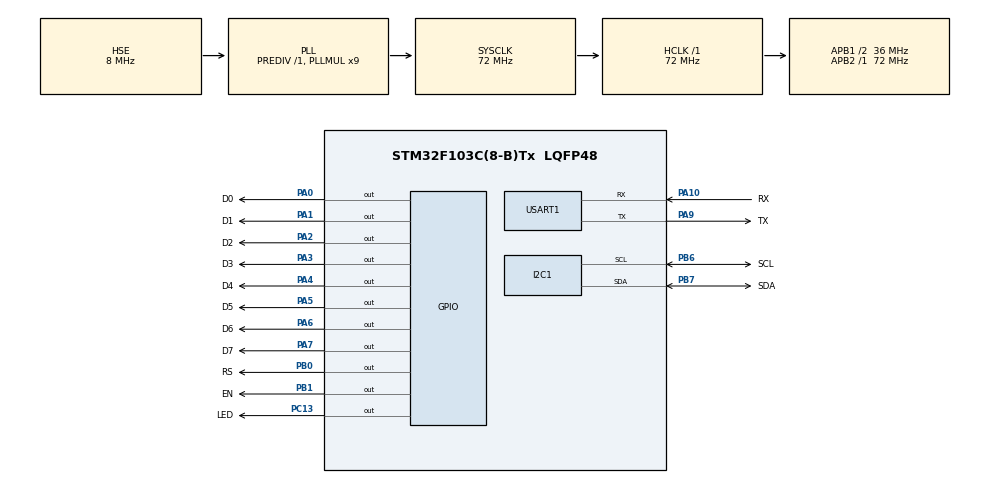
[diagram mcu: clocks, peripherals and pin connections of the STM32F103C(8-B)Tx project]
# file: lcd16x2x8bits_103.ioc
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I2C1.I2C_Mode=I2C_Standard
Mcu.Family=STM32F1
Mcu.Name=STM32F103C(8-B)Tx
Mcu.Package=LQFP48
NVIC.PriorityGroup=NVIC_PRIORITYGROUP_4
PA0-WKUP.GPIO_Label=D0
PA0-WKUP.Signal=GPIO_Output
PA1.GPIO_Label=D1
PA1.Signal=GPIO_Output
PA10.GPIO_Label=RX
PA10.Mode=Asynchronous
PA10.Signal=USART1_RX
PA13.Mode=Serial_Wire
PA13.Signal=SYS_JTMS-SWDIO
PA14.Mode=Serial_Wire
PA14.Signal=SYS_JTCK-SWCLK
PA2.GPIO_Label=D2
PA2.Signal=GPIO_Output
PA3.GPIO_Label=D3
PA3.Signal=GPIO_Output
PA4.GPIO_Label=D4
PA4.Signal=GPIO_Output
PA5.GPIO_Label=D5
PA5.Signal=GPIO_Output
PA6.GPIO_Label=D6
PA6.Signal=GPIO_Output
PA7.GPIO_Label=D7
PA7.Signal=GPIO_Output
PA9.GPIO_Label=TX
PA9.Mode=Asynchronous
PA9.Signal=USART1_TX
PB0.GPIO_Label=RS
PB0.Signal=GPIO_Output
PB1.GPIO_Label=EN
PB1.Signal=GPIO_Output
PB6.GPIO_Label=SCL
PB6.Mode=I2C
PB6.Signal=I2C1_SCL
PB7.GPIO_Label=SDA
PB7.Mode=I2C
PB7.Signal=I2C1_SDA
PC13-TAMPER-RTC.GPIO_Label=LED
PC13-TAMPER-RTC.Signal=GPIO_Output
PD0-OSC_IN.Mode=HSE-External-Oscillator
PD0-OSC_IN.Signal=RCC_OSC_IN
PD1-OSC_OUT.Mode=HSE-External-Oscillator
PD1-OSC_OUT.Signal=RCC_OSC_OUT
ProjectManager.HeapSize=0x200
ProjectManager.StackSize=0x400
ProjectManager.TargetToolchain=STM32CubeIDE
RCC.AHBFreq_Value=72000000
RCC.APB1CLKDivider=RCC_HCLK_DIV2
RCC.APB1Freq_Value=36000000
RCC.APB1TimFreq_Value=72000000
RCC.APB2Freq_Value=72000000
RCC.APB2TimFreq_Value=72000000
RCC.DATA_CACHE_ENABLE=1
RCC.HCLKFreq_Value=72000000
RCC.INSTRUCTION_CACHE_ENABLE=1
RCC.PLLMUL=RCC_PLL_MUL9
RCC.PLLSourceVirtual=RCC_PLLSOURCE_HSE
RCC.PWR_Regulator_Voltage_Scale=PWR_REGULATOR_VOLTAGE_SCALE1
RCC.SYSCLKFreq_VALUE=72000000
RCC.SYSCLKSource=RCC_SYSCLKSOURCE_PLLCLK
RCC.USBFreq_Value=72000000
USART1.VirtualMode=VM_ASYNC
board=custom

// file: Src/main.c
/* USER CODE BEGIN Header */
/**
  ******************************************************************************
  * @file           : main.c
  * @brief          : Main program body
  ******************************************************************************
  * @attention
  *
  * <h2><center>&copy; Copyright (c) 2019 STMicroelectronics.
  * All rights reserved.</center></h2>
  *
  * This software component is licensed by ST under BSD 3-Clause license,
  * the "License"; You may not use this file except in compliance with the
  * License. You may obtain a copy of the License at:
  *                        opensource.org/licenses/BSD-3-Clause
  *
  ******************************************************************************
  */
/* USER CODE END Header */

#include "main.h"

/* USER CODE BEGIN Includes */
#include "lcd_1602.h"
#include "ds1307.h"
#include "i2c-lcd.h"
#include "string.h"
#include "stdio.h"
/* USER CODE END Includes */

I2C_HandleTypeDef hi2c1;

UART_HandleTypeDef huart1;

/* USER CODE BEGIN PV */

uint8_t min, sec, hour;
uint8_t week_day, day, month, year;
char srt[16];

/* USER CODE END PV */

void SystemClock_Config(void);
static void MX_GPIO_Init(void);
static void MX_I2C1_Init(void);
static void MX_USART1_UART_Init(void);

/* USER CODE BEGIN 0 */
char buffer[50];
uint32_t number;
/* USER CODE END 0 */

int main(void)
{

  /* MCU Configuration--------------------------------------------------------*/

  /* Reset of all peripherals, Initializes the Flash interface and the Systick. */
  HAL_Init();

  /* Configure the system clock */
  SystemClock_Config();

  /* Initialize all configured peripherals */
  MX_GPIO_Init();
  MX_I2C1_Init();
  MX_USART1_UART_Init();
  /* USER CODE BEGIN 2 */

  lcd_init();
  HAL_Delay(10);
  lcd_i2c_init();
  HAL_Delay(10);
  rtc_init(0, 1, 0);

  lcd_clr();
  //lcd_i2c_clear();
  lcd_puts("---");
  //lcd_i2c_clear();

//  lcd_i2c_clear();

  lcd_i2c_send_string("ABCDEFGHIJKLMNO");

  HAL_Delay(2000);

  //rtc_set_time(18, 5, 0);
  //rtc_set_date(1, 16, 12, 19);

  /* USER CODE END 2 */

  /* Infinite loop */
  while (1)
  {

    /* USER CODE BEGIN 3 */
	  lcd_clr();
	  lcd_i2c_send_cmd(0x01);
	  rtc_get_time(&hour, &min, &sec);
	  lcd_gotoxy(0, 0);

	  lcd_gotoxy(1, 0);
	  sprintf(buffer, "HORA: %d:%d:%d", hour, min, sec);
	  lcd_i2c_send_string(buffer);
	  lcd_puts(buffer);
	  HAL_GPIO_TogglePin(GPIOC, GPIO_PIN_13);

	  HAL_Delay(500);
	  //number++;
  }
  /* USER CODE END 3 */
}

void SystemClock_Config(void)
{
  RCC_OscInitTypeDef RCC_OscInitStruct = {0};
  RCC_ClkInitTypeDef RCC_ClkInitStruct = {0};

  /** Initializes the CPU, AHB and APB busses clocks
  */
  RCC_OscInitStruct.OscillatorType = RCC_OSCILLATORTYPE_HSE;
  RCC_OscInitStruct.HSEState = RCC_HSE_ON;
  RCC_OscInitStruct.HSEPredivValue = RCC_HSE_PREDIV_DIV1;
  RCC_OscInitStruct.HSIState = RCC_HSI_ON;
  RCC_OscInitStruct.PLL.PLLState = RCC_PLL_ON;
  RCC_OscInitStruct.PLL.PLLSource = RCC_PLLSOURCE_HSE;
  RCC_OscInitStruct.PLL.PLLMUL = RCC_PLL_MUL9;
  if (HAL_RCC_OscConfig(&RCC_OscInitStruct) != HAL_OK)
  {
    Error_Handler();
  }
  /** Initializes the CPU, AHB and APB busses clocks
  */
  RCC_ClkInitStruct.ClockType = RCC_CLOCKTYPE_HCLK|RCC_CLOCKTYPE_SYSCLK
                              |RCC_CLOCKTYPE_PCLK1|RCC_CLOCKTYPE_PCLK2;
  RCC_ClkInitStruct.SYSCLKSource = RCC_SYSCLKSOURCE_PLLCLK;
  RCC_ClkInitStruct.AHBCLKDivider = RCC_SYSCLK_DIV1;
  RCC_ClkInitStruct.APB1CLKDivider = RCC_HCLK_DIV2;
  RCC_ClkInitStruct.APB2CLKDivider = RCC_HCLK_DIV1;

  if (HAL_RCC_ClockConfig(&RCC_ClkInitStruct, FLASH_LATENCY_2) != HAL_OK)
  {
    Error_Handler();
  }
}

static void MX_I2C1_Init(void)
{

  hi2c1.Instance = I2C1;
  hi2c1.Init.ClockSpeed = 100000;
  hi2c1.Init.DutyCycle = I2C_DUTYCYCLE_2;
  hi2c1.Init.OwnAddress1 = 0;
  hi2c1.Init.AddressingMode = I2C_ADDRESSINGMODE_7BIT;
  hi2c1.Init.DualAddressMode = I2C_DUALADDRESS_DISABLE;
  hi2c1.Init.OwnAddress2 = 0;
  hi2c1.Init.GeneralCallMode = I2C_GENERALCALL_DISABLE;
  hi2c1.Init.NoStretchMode = I2C_NOSTRETCH_DISABLE;
  if (HAL_I2C_Init(&hi2c1) != HAL_OK)
  {
    Error_Handler();
  }

}

static void MX_USART1_UART_Init(void)
{

  huart1.Instance = USART1;
  huart1.Init.BaudRate = 115200;
  huart1.Init.WordLength = UART_WORDLENGTH_8B;
  huart1.Init.StopBits = UART_STOPBITS_1;
  huart1.Init.Parity = UART_PARITY_NONE;
  huart1.Init.Mode = UART_MODE_TX_RX;
  huart1.Init.HwFlowCtl = UART_HWCONTROL_NONE;
  huart1.Init.OverSampling = UART_OVERSAMPLING_16;
  if (HAL_UART_Init(&huart1) != HAL_OK)
  {
    Error_Handler();
  }

}

static void MX_GPIO_Init(void)
{
  GPIO_InitTypeDef GPIO_InitStruct = {0};

  /* GPIO Ports Clock Enable */
  __HAL_RCC_GPIOC_CLK_ENABLE();
  __HAL_RCC_GPIOD_CLK_ENABLE();
  __HAL_RCC_GPIOA_CLK_ENABLE();
  __HAL_RCC_GPIOB_CLK_ENABLE();

  /*Configure GPIO pin Output Level */
  HAL_GPIO_WritePin(LED_GPIO_Port, LED_Pin, GPIO_PIN_RESET);

  /*Configure GPIO pin Output Level */
  HAL_GPIO_WritePin(GPIOA, D0_Pin|D1_Pin|D2_Pin|D3_Pin
                          |D4_Pin|D5_Pin|D6_Pin|D7_Pin, GPIO_PIN_RESET);

  /*Configure GPIO pin Output Level */
  HAL_GPIO_WritePin(GPIOB, RS_Pin|EN_Pin, GPIO_PIN_RESET);

  /*Configure GPIO pin : LED_Pin */
  GPIO_InitStruct.Pin = LED_Pin;
  GPIO_InitStruct.Mode = GPIO_MODE_OUTPUT_PP;
  GPIO_InitStruct.Pull = GPIO_NOPULL;
  GPIO_InitStruct.Speed = GPIO_SPEED_FREQ_LOW;
  HAL_GPIO_Init(LED_GPIO_Port, &GPIO_InitStruct);

  /*Configure GPIO pins : D0_Pin D1_Pin D2_Pin D3_Pin
                           D4_Pin D5_Pin D6_Pin D7_Pin */
  GPIO_InitStruct.Pin = D0_Pin|D1_Pin|D2_Pin|D3_Pin
                          |D4_Pin|D5_Pin|D6_Pin|D7_Pin;
  GPIO_InitStruct.Mode = GPIO_MODE_OUTPUT_PP;
  GPIO_InitStruct.Pull = GPIO_NOPULL;
  GPIO_InitStruct.Speed = GPIO_SPEED_FREQ_LOW;
  HAL_GPIO_Init(GPIOA, &GPIO_InitStruct);

  /*Configure GPIO pins : RS_Pin EN_Pin */
  GPIO_InitStruct.Pin = RS_Pin|EN_Pin;
  GPIO_InitStruct.Mode = GPIO_MODE_OUTPUT_PP;
  GPIO_InitStruct.Pull = GPIO_NOPULL;
  GPIO_InitStruct.Speed = GPIO_SPEED_FREQ_LOW;
  HAL_GPIO_Init(GPIOB, &GPIO_InitStruct);

}

void Error_Handler(void)
{
  /* USER CODE BEGIN Error_Handler_Debug */
  /* User can add his own implementation to report the HAL error return state */
	lcd_clr();
	lcd_gotoxy(0, 0);
	lcd_puts("FAILED RTC");
  /* USER CODE END Error_Handler_Debug */
}

/************************ (C) COPYRIGHT STMicroelectronics *****END OF FILE****/
